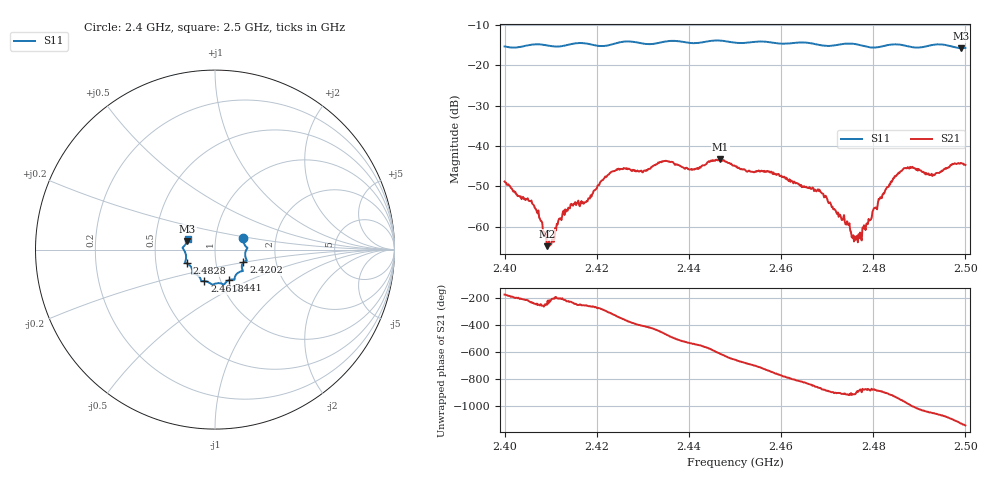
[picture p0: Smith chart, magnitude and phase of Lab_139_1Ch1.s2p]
# Hz S RI R 50
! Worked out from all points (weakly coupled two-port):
!   601 points, 2.4 GHz to 2.5 GHz, reference 50 ohm
!   highest |S21| = -43.35 dB at 2.4468 GHz (marker M1); lowest = -64.8 dB at 2.4092 GHz (marker M2)
!   lowest |S11| = -15.8 dB at 2.499 GHz (marker M3), VSWR 1.39, Z = 36.4 + j3.49 ohm
!   |S11| at or under -10 dB: start of sweep to end of sweep
!   S12 and S22 are empty: the file has one direction only
!   S11 on the Smith chart (normalised r, x): 2.4 GHz: 1.36, +0.18; 2.4202 GHz: 1.36, -0.20; 2.441 GHz: 1.10, -0.39; 2.4618 GHz: 0.84, -0.30; 2.4828 GHz: 0.72, -0.11; 2.5 GHz: 0.73, +0.09
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2.4e9  0.1582 0.0628  -0.00358 -0.000574  0 0  0 0
2.406e9  0.1792 0.011  -0.00116 0.00154  0 0  0 0
2.409167e9  0.1755 0.000653  -0.000215 0.000532  0 0  0 0
2.410333e9  0.171 -0.00961  -0.000648 0.000257  0 0  0 0
2.413e9  0.1695 -0.0399  -0.0012 0.000721  0 0  0 0
2.416667e9  0.1775 -0.0606  -0.000668 0.00197  0 0  0 0
2.420167e9  0.1583 -0.0713  0.000171 0.0032  0 0  0 0
2.424333e9  0.1523 -0.1096  0.00455 0.00236  0 0  0 0
2.433333e9  0.1115 -0.1509  0.00125 -0.00611  0 0  0 0
2.441e9  0.0784 -0.1695  -0.00511 -0.00032  0 0  0 0
2.446833e9  0.0482 -0.1951  -0.00202 0.00649  0 0  0 0
2.45e9  0.0282 -0.1874  0.00232 0.00514  0 0  0 0
2.461833e9  -0.0595 -0.1757  0.00126 -0.00365  0 0  0 0
2.466667e9  -0.0785 -0.1682  -0.00161 -0.0025  0 0  0 0
2.4695e9  -0.0913 -0.1471  -0.00218 -0.000869  0 0  0 0
2.476167e9  -0.1274 -0.1299  -0.000683 9.04e-05  0 0  0 0
2.482833e9  -0.1575 -0.0767  -0.00296 8.05e-05  0 0  0 0
2.483333e9  -0.1609 -0.0753  -0.00306 0.000512  0 0  0 0
2.487e9  -0.1633 -0.0599  -0.00175 0.00504  0 0  0 0
2.492833e9  -0.1771 0.00416  0.00369 0.0021  0 0  0 0
2.499e9  -0.1551 0.0467  0.00417 -0.00453  0 0  0 0
2.5e9  -0.1518 0.0608  0.00265 -0.00516  0 0  0 0
